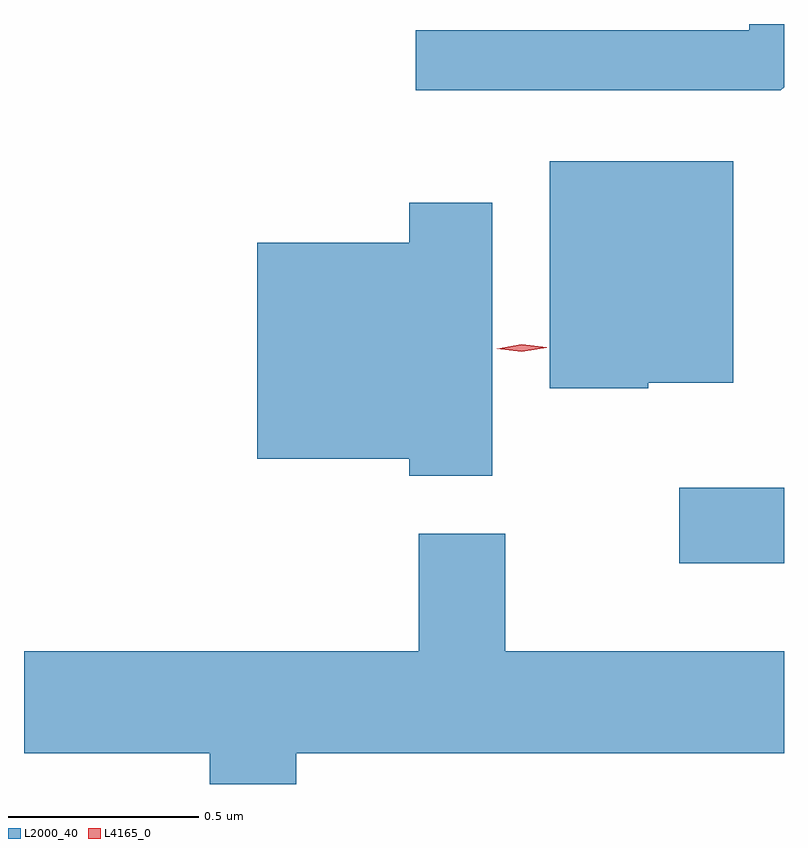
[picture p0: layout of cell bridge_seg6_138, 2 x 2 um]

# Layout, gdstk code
import gdstk
lib = gdstk.Library(unit=1e-6, precision=1e-09)
def R(c, l, rs):  # rectangles x0, y0, x1, y1
    for r in rs: c.add(gdstk.rectangle(r[:2], r[2:], *l))
def P(c, l, *ps):  # polygons
    for p in ps: c.add(gdstk.Polygon(p, *l))
L2000_40 = (2000, 40)
L4165_0 = (4165, 0)

bridge_seg6_138 = lib.new_cell('bridge_seg6_138')
R(bridge_seg6_138, L2000_40, [(1217.966,1612.696,1218.242,1612.894)])
P(bridge_seg6_138, L2000_40, [(1218.242,1613.949),(1218.242,1614.115),(1218.151,1614.115),(1218.151,1614.099),(1217.273,1614.099),(1217.273,1613.941),(1218.234,1613.941)],
  [(1217.885,1613.171),(1218.109,1613.171),(1218.109,1613.754),(1217.626,1613.754),(1217.626,1613.156),(1217.885,1613.156)],
  [(1217.474,1613.644),(1217.256,1613.644),(1217.256,1613.539),(1216.856,1613.539),(1216.856,1612.971),(1217.256,1612.971),(1217.256,1612.926),(1217.474,1612.926)],
  [(1216.959,1612.196),(1218.242,1612.196),(1218.242,1612.464),(1217.509,1612.464),(1217.509,1612.774),(1217.281,1612.774),(1217.281,1612.464),(1216.242,1612.464),(1216.242,1612.196),(1216.731,1612.196),(1216.731,1612.115),(1216.959,1612.115)])
P(bridge_seg6_138, L4165_0, [(1217.552,1613.252),(1217.486,1613.26),(1217.485,1613.261),(1217.486,1613.261),(1217.552,1613.272),(1217.618,1613.264),(1217.618,1613.264),(1217.618,1613.263)])

lib.write_gds('bridge_seg6_138.gds')
